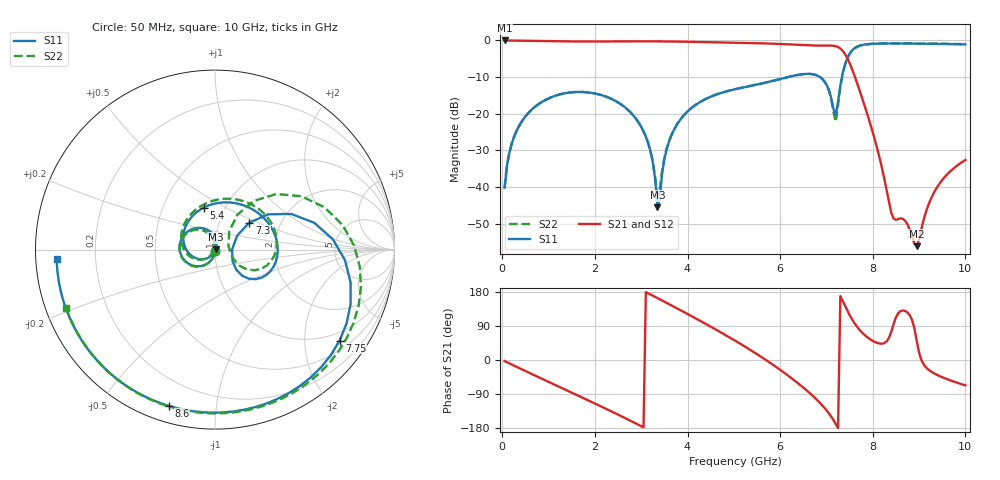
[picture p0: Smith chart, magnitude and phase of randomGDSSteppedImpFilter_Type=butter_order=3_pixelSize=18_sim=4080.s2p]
! freq	dB(S11)	phase(S11)	dB(S12)	phase(S12)
!  dB(S21)	phase(S21)	dB(S22)	phase(S22)
!S-par simulation data
#  GHz  S  DB  R 50
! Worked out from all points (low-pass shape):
!   200 points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, 50 MHz to 10 GHz, reference 50 ohm
!   highest |S21| = -0.01 dB at 50 MHz (marker M1); lowest = -56.2 dB at 8.95 GHz (marker M2)
!   |S21| within 3 dB of the highest: start of sweep to 7.36 GHz
!   lowest |S11| = -45.6 dB at 3.35 GHz (marker M3), VSWR 1.01, Z = 50.5 + j0.127 ohm
!   |S11| at or under -10 dB: start of sweep to 6.17 GHz; 6.86 GHz to 7.335 GHz (475 MHz wide, 6.69 % of centre)
!   |S22| runs from -42.2 to -0.8 dB; largest |S21 - S12| = 0
!   S11 on the Smith chart (normalised r, x): 50 MHz: 1.00, -0.02; 5.4 GHz: 0.80, +0.40; 7.3 GHz: 1.39, +0.44; 7.75 GHz: 0.74, -2.89; 8.6 GHz: 0.07, -0.74; 10 GHz: 0.06, -0.03
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0.05  -40.20 -92.1  -0.01 -3.0  -0.01 -3.0  -40.21 -92.0
0.5  -20.73 -119.9  -0.08 -29.1  -0.08 -29.1  -20.73 -119.1
1.75  -14.08 167.2  -0.29 -100.5  -0.29 -100.5  -14.09 170.7
2.95  -22.55 93.3  -0.24 -171.5  -0.24 -171.5  -22.56 104.7
3.2  -30.25 73.9  -0.24 172.9  -0.24 172.9  -30.19 96.8
3.35  -45.56 13.8  -0.25 163.5  -0.25 163.5  -42.18 144.3
3.4  -43.49 -80.4  -0.26 160.3  -0.26 160.3  -40.87 -156.0
3.55  -29.69 -117.2  -0.28 150.7  -0.28 150.7  -29.46 -128.2
3.8  -22.43 -137.0  -0.32 134.6  -0.32 134.6  -22.36 -137.3
5.05  -13.25 132.3  -0.62 49.4  -0.62 49.4  -13.24 145.0
5.4  -12.31 104.7  -0.72 23.2  -0.72 23.2  -12.30 120.1
6.05  -10.38 50.0  -0.99 -30.3  -0.99 -30.3  -10.39 67.9
6.7  -9.22 -10.8  -1.40 -94.1  -1.40 -94.1  -9.22 5.0
7.2  -20.39 1.0  -1.57 -168.5  -1.57 -168.5  -22.24 14.8
7.3  -12.30 38.2  -2.21 168.4  -2.21 168.4  -12.71 57.3
7.45  -4.85 15.2  -4.84 130.5  -4.84 130.5  -4.93 31.6
7.75  -1.31 -36.1  -14.95 74.9  -14.95 74.9  -1.32 -21.4
8.35  -0.83 -90.5  -44.20 58.5  -44.20 58.5  -0.80 -76.6
8.6  -0.84 -106.5  -48.58 129.1  -48.58 129.1  -0.79 -92.4
8.95  -0.87 -126.2  -56.17 50.1  -56.17 50.1  -0.82 -111.6
9.35  -0.93 -146.4  -40.89 -37.0  -40.89 -37.0  -0.88 -130.8
10  -1.07 -176.7  -32.64 -67.1  -32.64 -67.1  -1.01 -158.6
